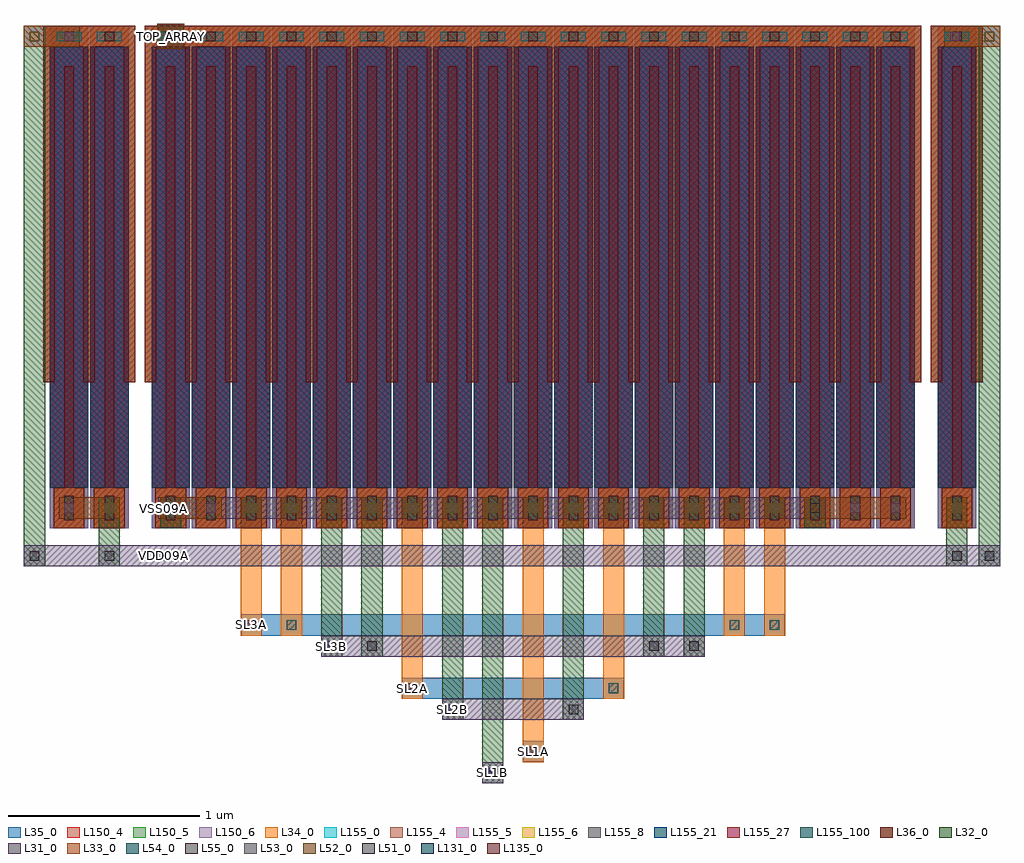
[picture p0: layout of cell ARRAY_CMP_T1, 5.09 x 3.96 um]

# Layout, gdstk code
from math import pi, radians
import gdstk
lib = gdstk.Library(unit=1e-6, precision=1e-09)
def R(c, l, rs):  # rectangles x0, y0, x1, y1
    for r in rs: c.add(gdstk.rectangle(r[:2], r[2:], *l))
def A(c, l, x, y, w, h, nx, ny, dx, dy):  # array of equal rectangles
    R(c, l, [(x+i*dx, y+j*dy, x+i*dx+w, y+j*dy+h) for i in range(nx) for j in range(ny)])
L31_0 = (31, 0)
L32_0 = (32, 0)
L33_0 = (33, 0)
L34_0 = (34, 0)
L35_0 = (35, 0)
L36_0 = (36, 0)
L51_0 = (51, 0)
L52_0 = (52, 0)
L53_0 = (53, 0)
L54_0 = (54, 0)
L55_0 = (55, 0)
L131_0 = (131, 0)
L135_0 = (135, 0)
L150_4 = (150, 4)
L150_5 = (150, 5)
L150_6 = (150, 6)
L155_0 = (155, 0)
L155_4 = (155, 4)
L155_5 = (155, 5)
L155_6 = (155, 6)
L155_8 = (155, 8)
L155_21 = (155, 21)
L155_27 = (155, 27)
L155_100 = (155, 100)

m5_m4_cdns_615876826657 = lib.new_cell('M5_M4_CDNS_615876826657')
R(m5_m4_cdns_615876826657, L34_0, [(-0.07,-0.105,0.07,0.105)])
R(m5_m4_cdns_615876826657, L35_0, [(-0.07,-0.105,0.07,0.105)])
R(m5_m4_cdns_615876826657, L54_0, [(-0.025,-0.065,0.025,0.065)])

m6_m5_cdns_615876826658 = lib.new_cell('M6_M5_CDNS_615876826658')
R(m6_m5_cdns_615876826658, L35_0, [(-0.07,-0.105,0.07,0.105)])
R(m6_m5_cdns_615876826658, L36_0, [(-0.055,-0.105,0.055,0.105)])
R(m6_m5_cdns_615876826658, L55_0, [(-0.025,-0.065,0.025,0.065)])

m5_m4_cdns_615876826659 = lib.new_cell('M5_M4_CDNS_615876826659')
R(m5_m4_cdns_615876826659, L34_0, [(-0.095,-0.055,0.095,0.055)])
R(m5_m4_cdns_615876826659, L35_0, [(-0.12,-0.055,0.12,0.055)])
R(m5_m4_cdns_615876826659, L54_0, [(-0.065,-0.025,0.065,0.025)])

m6_m5_cdns_6158768266510 = lib.new_cell('M6_M5_CDNS_6158768266510')
R(m6_m5_cdns_6158768266510, L35_0, [(-0.055,-0.055,0.055,0.055)])
R(m6_m5_cdns_6158768266510, L36_0, [(-0.055,-0.055,0.055,0.055)])
R(m6_m5_cdns_6158768266510, L55_0, [(-0.025,-0.025,0.025,0.025)])

cu1f = lib.new_cell('CU1F')
R(cu1f, L34_0, [(0.02,0,0.18,0.21), (-0.035,2.51,0.235,2.62)])
R(cu1f, L35_0, [(0.02,0,0.18,0.21), (-0.035,2.51,0.235,2.62)])
R(cu1f, L36_0, [(0.02,0,0.18,0.21), (-0.035,2.51,0.235,2.62)])
R(cu1f, L150_4, [(0,0,0.2,2.62)])
R(cu1f, L150_5, [(0,0,0.2,2.62)])
R(cu1f, L150_6, [(0,0,0.2,2.62)])
R(cu1f, L155_0, [(0,0.21,0.2,2.51)])
R(cu1f, L155_4, [(0,0.21,0.2,2.51)])
R(cu1f, L155_5, [(0,0.21,0.2,2.51)])
R(cu1f, L155_6, [(0,0.21,0.2,2.51)])
R(cu1f, L155_8, [(0,0.21,0.2,2.51)])
R(cu1f, L155_21, [(0,0.21,0.2,2.51)])
R(cu1f, L155_27, [(0,0.21,0.2,2.51)])
R(cu1f, L155_100, [(0,0.21,0.2,2.51)])
cu1f.add(gdstk.FlexPath([(0.205,2.59),(0.205,0.76)], 0.06, ends=(0.03, 0), simple_path=True, layer=34, datatype=0))  # L34_0
cu1f.add(gdstk.FlexPath([(0.1,2.41),(0.1,0)], 0.05, ends="flush", simple_path=True, layer=34, datatype=0))  # L34_0
cu1f.add(gdstk.FlexPath([(-0.005,2.59),(-0.005,0.76)], 0.06, ends=(0.03, 0), simple_path=True, layer=34, datatype=0))  # L34_0
cu1f.add(gdstk.FlexPath([(0.205,0.76),(0.205,2.59)], 0.06, ends=(0, 0.03), simple_path=True, layer=35, datatype=0))  # L35_0
cu1f.add(gdstk.FlexPath([(0.1,2.41),(0.1,0)], 0.05, ends="flush", simple_path=True, layer=35, datatype=0))  # L35_0
cu1f.add(gdstk.FlexPath([(-0.005,0.76),(-0.005,2.59)], 0.06, ends=(0, 0.03), simple_path=True, layer=35, datatype=0))  # L35_0
cu1f.add(gdstk.FlexPath([(0.205,0.76),(0.205,2.59)], 0.06, ends=(0, 0.03), simple_path=True, layer=36, datatype=0))  # L36_0
cu1f.add(gdstk.FlexPath([(0.1,2.41),(0.1,0)], 0.05, ends="flush", simple_path=True, layer=36, datatype=0))  # L36_0
cu1f.add(gdstk.FlexPath([(-0.005,0.76),(-0.005,2.59)], 0.06, ends=(0, 0.03), simple_path=True, layer=36, datatype=0))  # L36_0
cu1f.add(gdstk.Reference(m5_m4_cdns_615876826657, (0.1,0.105), rotation=pi, x_reflection=True))
cu1f.add(gdstk.Reference(m6_m5_cdns_615876826658, (0.1,0.105), rotation=pi, x_reflection=True))
cu1f.add(gdstk.Reference(m5_m4_cdns_615876826659, (0.1,2.565)))
cu1f.add(gdstk.Reference(m6_m5_cdns_6158768266510, (0.1,2.565)))

m2_m1_cdns_615876826650 = lib.new_cell('M2_M1_CDNS_615876826650')
R(m2_m1_cdns_615876826650, L31_0, [(-0.055,-0.055,0.055,0.055)])
R(m2_m1_cdns_615876826650, L32_0, [(-0.055,-0.055,0.055,0.055)])
R(m2_m1_cdns_615876826650, L51_0, [(-0.025,-0.025,0.025,0.025)])

m3_m2_cdns_615876826651 = lib.new_cell('M3_M2_CDNS_615876826651')
R(m3_m2_cdns_615876826651, L32_0, [(-0.055,-0.055,0.055,0.055)])
R(m3_m2_cdns_615876826651, L33_0, [(-0.055,-0.055,0.055,0.055)])
R(m3_m2_cdns_615876826651, L52_0, [(-0.025,-0.025,0.025,0.025)])

m4_m3_cdns_615876826652 = lib.new_cell('M4_M3_CDNS_615876826652')
R(m4_m3_cdns_615876826652, L33_0, [(-0.055,-0.055,0.055,0.055)])
R(m4_m3_cdns_615876826652, L34_0, [(-0.055,-0.055,0.055,0.055)])
R(m4_m3_cdns_615876826652, L53_0, [(-0.025,-0.025,0.025,0.025)])

m4_m3_cdns_615876826653 = lib.new_cell('M4_M3_CDNS_615876826653')
R(m4_m3_cdns_615876826653, L33_0, [(-0.07,-0.065,0.07,0.065)])
R(m4_m3_cdns_615876826653, L34_0, [(-0.055,-0.055,0.055,0.055)])
R(m4_m3_cdns_615876826653, L53_0, [(-0.025,-0.025,0.025,0.025)])

m3_m2_cdns_615876826654 = lib.new_cell('M3_M2_CDNS_615876826654')
R(m3_m2_cdns_615876826654, L32_0, [(-0.065,-0.06,0.065,0.06)])
R(m3_m2_cdns_615876826654, L33_0, [(-0.07,-0.065,0.07,0.065)])
R(m3_m2_cdns_615876826654, L52_0, [(-0.025,-0.025,0.025,0.025)])

m2_m1_cdns_615876826655 = lib.new_cell('M2_M1_CDNS_615876826655')
R(m2_m1_cdns_615876826655, L31_0, [(-0.055,-0.055,0.055,0.055)])
R(m2_m1_cdns_615876826655, L32_0, [(-0.065,-0.06,0.065,0.06)])
R(m2_m1_cdns_615876826655, L51_0, [(-0.025,-0.025,0.025,0.025)])

m5_m4_cdns_615876826656 = lib.new_cell('M5_M4_CDNS_615876826656')
R(m5_m4_cdns_615876826656, L34_0, [(-0.055,-0.055,0.055,0.055)])
R(m5_m4_cdns_615876826656, L35_0, [(-0.055,-0.055,0.055,0.055)])
R(m5_m4_cdns_615876826656, L54_0, [(-0.025,-0.025,0.025,0.025)])

array_cmp_t1 = lib.new_cell('ARRAY_CMP_T1')
R(array_cmp_t1, L31_0, [(2.255,-1.33,2.365,-1.22), (2.045,-1,2.785,-0.89), (1.415,-0.67,3.415,-0.56), (-0.135,-0.2,4.955,-0.09), (0.565,0.05,4.045,0.16), (0.56,2.5,0.7,2.63)])
R(array_cmp_t1, L32_0, [(2.255,-1.33,2.365,0.16), (2.045,-1,2.155,0.16), (2.675,-1,2.785,0.16), (1.415,-0.67,1.525,0.16), (1.625,-0.67,1.735,0.16), (3.095,-0.67,3.205,0.16), (3.305,-0.67,3.415,0.16), (-0.135,-0.2,-0.025,2.62), (0.255,-0.2,0.365,0.16), (4.675,-0.2,4.785,0.16), (4.845,-0.2,4.955,2.62), (0.575,0,0.685,0.16), (3.935,0,4.045,0.16)])
A(array_cmp_t1, L33_0, 0.995, 0, 0.11, 0.16, 14, 1, 0.21, 0)
R(array_cmp_t1, L33_0, [(4.675,0,4.785,0.16), (0.045,0.05,0.365,0.16), (0.575,0.05,0.895,0.16), (3.935,0.05,4.465,0.16), (-0.135,2.51,0.155,2.62), (4.665,2.51,4.955,2.62)])
R(array_cmp_t1, L34_0, [(2.465,-1.22,2.575,0.16), (1.835,-0.89,1.945,0.16), (2.885,-0.89,2.995,0.16), (0.995,-0.56,1.105,0.16), (1.205,-0.56,1.315,0.16), (3.515,-0.56,3.625,0.16), (3.725,-0.56,3.835,0.16)])
R(array_cmp_t1, L35_0, [(2.465,-1.22,2.575,-1.11), (1.835,-0.89,2.995,-0.78), (0.995,-0.56,3.835,-0.45)])
R(array_cmp_t1, L131_0, [(2.285,-1.3,2.335,-1.25), (2.075,-0.97,2.125,-0.92), (1.445,-0.64,1.495,-0.59), (0.565,-0.17,0.615,-0.12), (0.565,0.08,0.615,0.13), (0.605,2.54,0.655,2.59)])
R(array_cmp_t1, L135_0, [(2.495,-1.19,2.545,-1.14), (1.865,-0.86,1.915,-0.81), (1.025,-0.53,1.075,-0.48)])
array_cmp_t1.add(gdstk.Reference(cu1f, (0,0)))
array_cmp_t1.add(gdstk.Reference(cu1f, (0.21,0)))
array_cmp_t1.add(gdstk.Reference(cu1f, (0.53,0)))
array_cmp_t1.add(gdstk.Reference(cu1f, (0.74,0)))
array_cmp_t1.add(gdstk.Reference(cu1f, (4.63,0)))
array_cmp_t1.add(gdstk.Reference(cu1f, (4.31,0)))
array_cmp_t1.add(gdstk.Reference(cu1f, (4.1,0)))
array_cmp_t1.add(gdstk.Reference(cu1f, (3.89,0)))
array_cmp_t1.add(gdstk.Reference(cu1f, (3.68,0)))
array_cmp_t1.add(gdstk.Reference(cu1f, (3.47,0)))
array_cmp_t1.add(gdstk.Reference(cu1f, (3.26,0)))
array_cmp_t1.add(gdstk.Reference(cu1f, (3.05,0)))
array_cmp_t1.add(gdstk.Reference(cu1f, (2.84,0)))
array_cmp_t1.add(gdstk.Reference(cu1f, (2.63,0)))
array_cmp_t1.add(gdstk.Reference(cu1f, (2.42,0)))
array_cmp_t1.add(gdstk.Reference(cu1f, (2.21,0)))
array_cmp_t1.add(gdstk.Reference(cu1f, (2,0)))
array_cmp_t1.add(gdstk.Reference(cu1f, (1.79,0)))
array_cmp_t1.add(gdstk.Reference(cu1f, (1.58,0)))
array_cmp_t1.add(gdstk.Reference(cu1f, (1.37,0)))
array_cmp_t1.add(gdstk.Reference(cu1f, (1.16,0)))
array_cmp_t1.add(gdstk.Reference(cu1f, (0.95,0)))
array_cmp_t1.add(gdstk.Reference(m2_m1_cdns_615876826650, (4.9,-0.145)))
array_cmp_t1.add(gdstk.Reference(m2_m1_cdns_615876826650, (-0.08,-0.145)))
array_cmp_t1.add(gdstk.Reference(m2_m1_cdns_615876826650, (3.99,0.105)))
array_cmp_t1.add(gdstk.Reference(m2_m1_cdns_615876826650, (4.73,-0.145)))
array_cmp_t1.add(gdstk.Reference(m2_m1_cdns_615876826650, (0.31,-0.145)))
array_cmp_t1.add(gdstk.Reference(m2_m1_cdns_615876826650, (2.31,-1.275)))
array_cmp_t1.add(gdstk.Reference(m2_m1_cdns_615876826650, (2.1,-0.945)))
array_cmp_t1.add(gdstk.Reference(m2_m1_cdns_615876826650, (2.73,-0.945)))
array_cmp_t1.add(gdstk.Reference(m2_m1_cdns_615876826650, (1.68,-0.615)))
array_cmp_t1.add(gdstk.Reference(m2_m1_cdns_615876826650, (1.47,-0.615)))
array_cmp_t1.add(gdstk.Reference(m2_m1_cdns_615876826650, (3.15,-0.615)))
array_cmp_t1.add(gdstk.Reference(m2_m1_cdns_615876826650, (3.36,-0.615)))
array_cmp_t1.add(gdstk.Reference(m2_m1_cdns_615876826650, (0.63,0.105)))
array_cmp_t1.add(gdstk.Reference(m3_m2_cdns_615876826651, (4.9,2.565)))
array_cmp_t1.add(gdstk.Reference(m3_m2_cdns_615876826651, (-0.08,2.565)))
array_cmp_t1.add(gdstk.Reference(m3_m2_cdns_615876826651, (1.05,0.105)))
array_cmp_t1.add(gdstk.Reference(m3_m2_cdns_615876826651, (1.26,0.105)))
array_cmp_t1.add(gdstk.Reference(m3_m2_cdns_615876826651, (1.47,0.105)))
array_cmp_t1.add(gdstk.Reference(m3_m2_cdns_615876826651, (1.68,0.105)))
array_cmp_t1.add(gdstk.Reference(m3_m2_cdns_615876826651, (1.89,0.105)))
array_cmp_t1.add(gdstk.Reference(m3_m2_cdns_615876826651, (2.1,0.105)))
array_cmp_t1.add(gdstk.Reference(m3_m2_cdns_615876826651, (2.31,0.105)))
array_cmp_t1.add(gdstk.Reference(m3_m2_cdns_615876826651, (2.52,0.105)))
array_cmp_t1.add(gdstk.Reference(m3_m2_cdns_615876826651, (2.73,0.105)))
array_cmp_t1.add(gdstk.Reference(m3_m2_cdns_615876826651, (2.94,0.105)))
array_cmp_t1.add(gdstk.Reference(m3_m2_cdns_615876826651, (3.15,0.105)))
array_cmp_t1.add(gdstk.Reference(m3_m2_cdns_615876826651, (3.36,0.105)))
array_cmp_t1.add(gdstk.Reference(m3_m2_cdns_615876826651, (3.57,0.105)))
array_cmp_t1.add(gdstk.Reference(m3_m2_cdns_615876826651, (3.78,0.105)))
array_cmp_t1.add(gdstk.Reference(m3_m2_cdns_615876826651, (4.73,0.105)))
array_cmp_t1.add(gdstk.Reference(m3_m2_cdns_615876826651, (3.99,0.105)))
array_cmp_t1.add(gdstk.Reference(m3_m2_cdns_615876826651, (0.63,0.105)))
array_cmp_t1.add(gdstk.Reference(m3_m2_cdns_615876826651, (0.31,0.105)))
array_cmp_t1.add(gdstk.Reference(m4_m3_cdns_615876826652, (4.72,2.565), rotation=pi, x_reflection=True))
array_cmp_t1.add(gdstk.Reference(m4_m3_cdns_615876826652, (0.1,2.565)))
array_cmp_t1.add(gdstk.Reference(m4_m3_cdns_615876826652, (1.05,0.105)))
array_cmp_t1.add(gdstk.Reference(m4_m3_cdns_615876826652, (1.26,0.105)))
array_cmp_t1.add(gdstk.Reference(m4_m3_cdns_615876826652, (1.47,0.105)))
array_cmp_t1.add(gdstk.Reference(m4_m3_cdns_615876826652, (1.68,0.105)))
array_cmp_t1.add(gdstk.Reference(m4_m3_cdns_615876826652, (1.89,0.105)))
array_cmp_t1.add(gdstk.Reference(m4_m3_cdns_615876826652, (2.1,0.105)))
array_cmp_t1.add(gdstk.Reference(m4_m3_cdns_615876826652, (2.31,0.105)))
array_cmp_t1.add(gdstk.Reference(m4_m3_cdns_615876826652, (2.52,0.105)))
array_cmp_t1.add(gdstk.Reference(m4_m3_cdns_615876826652, (2.73,0.105)))
array_cmp_t1.add(gdstk.Reference(m4_m3_cdns_615876826652, (2.94,0.105)))
array_cmp_t1.add(gdstk.Reference(m4_m3_cdns_615876826652, (3.15,0.105)))
array_cmp_t1.add(gdstk.Reference(m4_m3_cdns_615876826652, (3.36,0.105)))
array_cmp_t1.add(gdstk.Reference(m4_m3_cdns_615876826652, (3.57,0.105)))
array_cmp_t1.add(gdstk.Reference(m4_m3_cdns_615876826652, (3.78,0.105)))
array_cmp_t1.add(gdstk.Reference(m4_m3_cdns_615876826652, (4.73,0.105)))
array_cmp_t1.add(gdstk.Reference(m4_m3_cdns_615876826652, (4.2,0.105)))
array_cmp_t1.add(gdstk.Reference(m4_m3_cdns_615876826652, (4.41,0.105)))
array_cmp_t1.add(gdstk.Reference(m4_m3_cdns_615876826652, (3.99,0.105)))
array_cmp_t1.add(gdstk.Reference(m4_m3_cdns_615876826652, (0.84,0.105)))
array_cmp_t1.add(gdstk.Reference(m4_m3_cdns_615876826652, (0.63,0.105)))
array_cmp_t1.add(gdstk.Reference(m4_m3_cdns_615876826652, (0.1,0.105)))
array_cmp_t1.add(gdstk.Reference(m4_m3_cdns_615876826652, (0.31,0.105)))
array_cmp_t1.add(gdstk.Reference(m4_m3_cdns_615876826653, (0.63,2.565)))
array_cmp_t1.add(gdstk.Reference(m3_m2_cdns_615876826654, (0.63,2.565)))
array_cmp_t1.add(gdstk.Reference(m2_m1_cdns_615876826655, (0.63,2.565)))
array_cmp_t1.add(gdstk.Reference(m5_m4_cdns_615876826656, (1.89,-0.835)))
array_cmp_t1.add(gdstk.Reference(m5_m4_cdns_615876826656, (2.94,-0.835)))
array_cmp_t1.add(gdstk.Reference(m5_m4_cdns_615876826656, (2.52,-1.165)))
array_cmp_t1.add(gdstk.Reference(m5_m4_cdns_615876826656, (3.78,-0.505)))
array_cmp_t1.add(gdstk.Reference(m5_m4_cdns_615876826656, (1.26,-0.505)))
array_cmp_t1.add(gdstk.Reference(m5_m4_cdns_615876826656, (3.57,-0.505)))
array_cmp_t1.add(gdstk.Reference(m5_m4_cdns_615876826656, (1.05,-0.505)))
array_cmp_t1.add(gdstk.Label('SL3A', (1.05,-0.505), layer=135, texttype=0))
array_cmp_t1.add(gdstk.Label('SL1A', (2.52,-1.165), layer=135, texttype=0))
array_cmp_t1.add(gdstk.Label('SL2A', (1.89,-0.835), layer=135, texttype=0))
array_cmp_t1.add(gdstk.Label('VDD09A', (0.59,-0.145), layer=131, texttype=0))
array_cmp_t1.add(gdstk.Label('SL3B', (1.47,-0.615), layer=131, texttype=0))
array_cmp_t1.add(gdstk.Label('VSS09A', (0.59,0.105), layer=131, texttype=0))
array_cmp_t1.add(gdstk.Label('SL1B', (2.31,-1.275), layer=131, texttype=0))
array_cmp_t1.add(gdstk.Label('SL2B', (2.1,-0.945), layer=131, texttype=0))
array_cmp_t1.add(gdstk.Label('TOP_ARRAY', (0.628,2.565), layer=131, texttype=0))

lib.write_gds('ARRAY_CMP_T1.gds')
